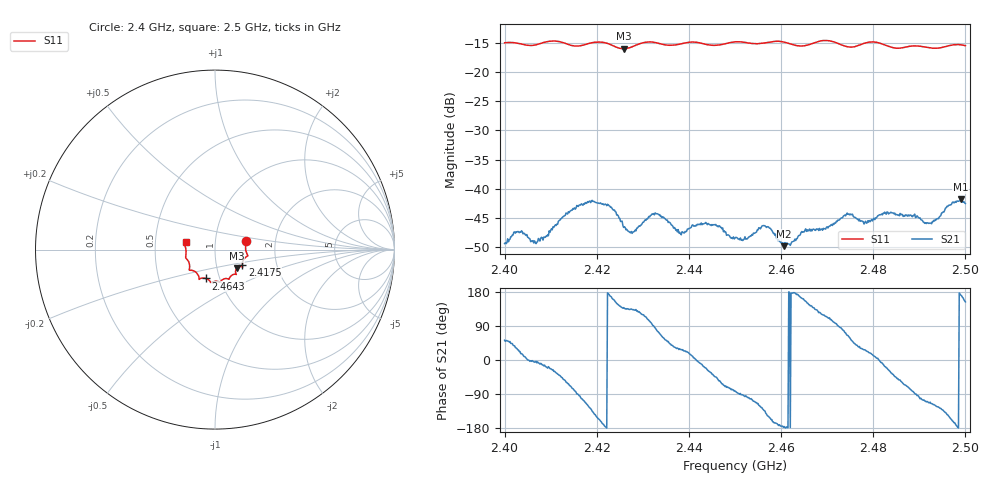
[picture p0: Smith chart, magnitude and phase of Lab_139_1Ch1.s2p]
# Hz S RI R 50
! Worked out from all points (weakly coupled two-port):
!   601 points, 2.4 GHz to 2.5 GHz, reference 50 ohm
!   highest |S21| = -41.88 dB at 2.499 GHz (marker M1); lowest = -49.9 dB at 2.4607 GHz (marker M2)
!   lowest |S11| = -15.9 dB at 2.4258 GHz (marker M3), VSWR 1.38, Z = 62.3 - j13.2 ohm
!   |S11| at or under -10 dB: start of sweep to end of sweep
!   S12 and S22 are empty: the file has one direction only
!   S11 on the Smith chart (normalised r, x): 2.4 GHz: 1.41, +0.14; 2.4175 GHz: 1.34, -0.23; 2.4643 GHz: 0.86, -0.29; 2.5 GHz: 0.72, +0.06
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2.4e9  0.1729 0.0486  0.00206 0.00266  0 0  0 0
2.4025e9  0.1752 0.0376  0.00361 0.00225  0 0  0 0
2.407167e9  0.1739 -0.0118  0.00349 -0.000299  0 0  0 0
2.416667e9  0.1532 -0.074  -0.00155 -0.00723  0 0  0 0
2.4175e9  0.1522 -0.0835  -0.00285 -0.00703  0 0  0 0
2.422833e9  0.1467 -0.0945  -0.00694 0.00131  0 0  0 0
2.425833e9  0.1216 -0.1032  -0.00345 0.00308  0 0  0 0
2.427667e9  0.1147 -0.12  -0.00284 0.00298  0 0  0 0
2.433333e9  0.1132 -0.1372  0.00162 0.0058  0 0  0 0
2.438333e9  0.0814 -0.1561  0.00355 0.00185  0 0  0 0
2.443833e9  0.0645 -0.1611  0.00461 -0.00198  0 0  0 0
2.45e9  0.0289 -0.1809  0.000549 -0.00371  0 0  0 0
2.4565e9  -0.00996 -0.1791  -0.00337 -0.00341  0 0  0 0
2.460667e9  -0.0257 -0.1804  -0.00318 -0.000247  0 0  0 0
2.464333e9  -0.0498 -0.161  -0.00404 0.00114  0 0  0 0
2.466667e9  -0.076 -0.1593  -0.0034 0.00266  0 0  0 0
2.474167e9  -0.0986 -0.1348  0.00229 0.00555  0 0  0 0
2.4785e9  -0.1386 -0.1151  0.00461 0.00203  0 0  0 0
2.483333e9  -0.1412 -0.0901  0.0054 -0.00271  0 0  0 0
2.492167e9  -0.1613 -0.0237  -0.00197 -0.00462  0 0  0 0
2.499e9  -0.1687 0.0374  -0.00796 0.00125  0 0  0 0
2.5e9  -0.1641 0.0429  -0.00666 0.00333  0 0  0 0
